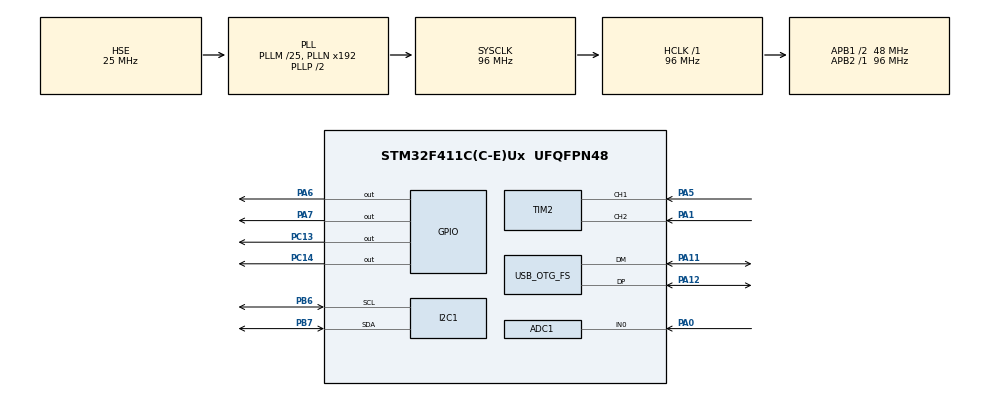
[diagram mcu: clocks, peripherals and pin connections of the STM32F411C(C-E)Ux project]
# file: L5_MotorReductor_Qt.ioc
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ADC1.Channel-0\#ChannelRegularConversion=ADC_CHANNEL_0
ADC1.NbrOfConversionFlag=1
ADC1.Rank-0\#ChannelRegularConversion=1
ADC1.SamplingTime-0\#ChannelRegularConversion=ADC_SAMPLETIME_3CYCLES
ADC1.master=1
I2C1.I2C_Mode=I2C_Fast
Mcu.Family=STM32F4
Mcu.Name=STM32F411C(C-E)Ux
Mcu.Package=UFQFPN48
Mcu.UserConstants=TIMX,TIM5
NVIC.OTG_FS_IRQn=true\:0\:0\:false\:false\:true\:true\:true\:true
NVIC.PriorityGroup=NVIC_PRIORITYGROUP_4
PA0-WKUP.Signal=ADCx_IN0
PA1.Signal=S_TIM2_CH2
PA11.Mode=Device_Only
PA11.Signal=USB_OTG_FS_DM
PA12.Mode=Device_Only
PA12.Signal=USB_OTG_FS_DP
PA13.Mode=Serial_Wire
PA13.Signal=SYS_JTMS-SWDIO
PA14.Mode=Serial_Wire
PA14.Signal=SYS_JTCK-SWCLK
PA5.Signal=S_TIM2_CH1_ETR
PA6.Signal=GPIO_Output
PA7.Signal=GPIO_Output
PB6.Mode=I2C
PB6.Signal=I2C1_SCL
PB7.Mode=I2C
PB7.Signal=I2C1_SDA
PC13-ANTI_TAMP.Signal=GPIO_Output
PC14-OSC32_IN.Signal=GPIO_Output
PH0\ -\ OSC_IN.Mode=HSE-External-Oscillator
PH0\ -\ OSC_IN.Signal=RCC_OSC_IN
PH1\ -\ OSC_OUT.Mode=HSE-External-Oscillator
PH1\ -\ OSC_OUT.Signal=RCC_OSC_OUT
ProjectManager.HeapSize=0x200
ProjectManager.StackSize=0x400
ProjectManager.TargetToolchain=STM32CubeIDE
RCC.48MHZClocksFreq_Value=48000000
RCC.AHBFreq_Value=96000000
RCC.APB1CLKDivider=RCC_HCLK_DIV2
RCC.APB1Freq_Value=48000000
RCC.APB1TimFreq_Value=96000000
RCC.APB2Freq_Value=96000000
RCC.APB2TimFreq_Value=96000000
RCC.CortexFreq_Value=96000000
RCC.HCLKFreq_Value=96000000
RCC.HSE_VALUE=25000000
RCC.HSI_VALUE=16000000
RCC.LSE_VALUE=32768
RCC.PLLM=25
RCC.SYSCLKFreq_VALUE=96000000
RCC.SYSCLKSource=RCC_SYSCLKSOURCE_PLLCLK
RCC.VCOOutputFreq_Value=192000000
SH.ADCx_IN0.0=ADC1_IN0,IN0
SH.S_TIM2_CH1_ETR.0=TIM2_CH1,Encoder_Interface
SH.S_TIM2_CH2.0=TIM2_CH2,Encoder_Interface
TIM2.EncoderMode=TIM_ENCODERMODE_TI12
TIM2.IC1Filter=15
TIM2.IC1Polarity=TIM_ICPOLARITY_FALLING
TIM2.IC2Filter=15
TIM2.IC2Polarity=TIM_ICPOLARITY_FALLING
TIM3.AutoReloadPreload=TIM_AUTORELOAD_PRELOAD_DISABLE
TIM3.Prescaler=96-1
TIM5.Prescaler=96-1
USB_DEVICE.CLASS_NAME_FS=CDC
USB_DEVICE.VirtualMode=Cdc
USB_DEVICE.VirtualModeFS=Cdc_FS
USB_OTG_FS.VirtualMode=Device_Only
VP_TIM3_VS_ClockSourceINT.Mode=Internal
VP_TIM5_VS_ClockSourceINT.Mode=Internal
VP_USB_DEVICE_VS_USB_DEVICE_CDC_FS.Mode=CDC_FS
board=custom

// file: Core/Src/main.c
/* USER CODE BEGIN Header */
/**
  ******************************************************************************
  * @file           : main.c
  * @brief          : Main program body
  ******************************************************************************
  * @attention
  *
  * Copyright (c) 2025 STMicroelectronics.
  * All rights reserved.
  *
  * This software is licensed under terms that can be found in the LICENSE file
  * in the root directory of this software component.
  * If no LICENSE file comes with this software, it is provided AS-IS.
  *
  ******************************************************************************
  */
/* USER CODE END Header */
#include "main.h"
#include "usb_device.h"

/* USER CODE BEGIN Includes */

#include "motorDriver.h"
#include "retardos.h"
#include <stdbool.h>

/* USER CODE END Includes */

ADC_HandleTypeDef hadc1;

I2C_HandleTypeDef hi2c1;

TIM_HandleTypeDef htim2;
TIM_HandleTypeDef htim3;
TIM_HandleTypeDef htim5;

/* USER CODE BEGIN PV */

uint32_t tiempo=0;
uint32_t start_time = 0;
uint32_t stop_time = 0;
uint32_t TIEMPO = 0;
uint32_t contador=0;

int8_t numDatos=0;
uint8_t RPM = 0;
uint8_t rpm = 0;

//unsigned long datosRX[];

volatile uint8_t datosRX[99];
volatile uint8_t indexRX = 0;
uint8_t datosTX[99];
uint8_t indexTX = 0;
//uint16_t overhead;
volatile int32_t posicionMotor =0;
uint8_t datosx [40];

volatile int i;
//volatile int bandera= 0;
volatile bool bandera= 0;
volatile uint8_t TiempoRPM = 0;

//uint32_t numDatos;

typedef struct{
	uint8_t inicio;
	uint8_t tamano;
	uint8_t *datos;  //changeable
	uint8_t crc;
	uint8_t fin;

}PAQUETE;

uint8_t datos4[] = {0xAA,0xFF,0xCC,0xDD,0xCC,0xFF,0xAA,0xFF,0xCC,0xDD,0xCC,0xFF}; //corregir despues max 6 para estudio qt

uint8_t hola[] = {0xEE,0x01};

PAQUETE pk1;

uint8_t calcularCRC(uint8_t *datos, uint8_t tam) //el valor de tam cuando llega
{
	uint8_t crc = 0;
	for(int i=0; i<tam; i++)
	{
		crc ^= datos[i];
	}
	return crc;
}

int8_t serializarPaquete(const PAQUETE* paquete, uint8_t *buffer){   //serialize

	int idx =0;

	if(!paquete || !buffer)return -1;

	buffer[idx++] = paquete->inicio;
	buffer[idx++]= paquete->tamano;

		if(paquete->datos && (paquete->tamano>3)){   	//packet of data ;
		  memcpy(&buffer[idx], paquete->datos, (size_t)(paquete->tamano-4));
		  idx = idx + paquete->tamano-4;
		}

	uint8_t ss= (uint8_t)idx;
	buffer[idx++] =calcularCRC(buffer,ss);
	buffer[idx++] =paquete->fin;
	return idx;
}

void EnviarPaquete(uint8_t *dat, uint8_t tam){ //DAT ES VARIABLE DINAMICA (*dat=RPM)

	pk1.inicio = 0x77; //Start byte
	pk1.tamano = tam + 4;
	pk1.datos=datosx;

    memcpy(&pk1.datos[0], dat, tam + 4 );

	numDatos = serializarPaquete(&pk1, &datosTX);
	pk1.crc=calcularCRC(datosTX, tam+4);
	pk1.fin =0x12;

	CDC_Transmit_FS(datosTX, numDatos);

} //way important to transmit

/*
int8_t deserializaPaquete(const PAQUETE* paquete, uint8_t *buffer){

	ind idx2 =0;
	buffer[idx2]=

}*/

/*
uint8_t ObtenerRPM()
{

	 static uint32_t pos_anterior = 0;
	    uint32_t pos_actual = pos;
	    // Calcula los pulsos transcurridos en 10 segundos
	    uint32_t pulsos_delta = pos_actual - pos_anterior;
	    pos_anterior = pos_actual; // Actualiza para la próxima lectura

	    // Calcula RPM: (pulsos / 1430 pulsos/rev) / 10 seg * 60 seg/min → (pulsos * 6) / 1430
	    uint32_t rpm = (pulsos_delta * 60) / (1430 * 10); // 10 segundos

	    // Asegura que el RPM no exceda 255 (máximo de uint8_t)
	    if (rpm > 255) rpm = 255;

	    return (uint8_t)rpm;

	    /*
    HAL_TIM_Base_Start(&htim3);
    __HAL_TIM_SET_COUNTER(&htim3, 0);

    Delay_ms(1000);

    uint32_t TiempoRPM = __HAL_TIM_GET_COUNTER(&htim3);
    uint8_t posimotor = posicionMotor;
       posimotor/=1430;  //constante de una vuelta en pulsos importante

    if (TiempoRPM >= 1000000)
    {

        __HAL_TIM_SET_COUNTER(&htim3, 0);
        float RPMS = (posimotor * 60.0) / TiempoRPM;
        return (uint8_t)RPMS;
        }
} */

uint8_t ObtenerRPM()
{
    static uint32_t pos_anterior = 0;
    uint32_t pos_actual = __HAL_TIM_GET_COUNTER(&htim2);
    uint32_t pulsos_delta = pos_actual - pos_anterior;
    pos_anterior = pos_actual;

   uint32_t rpm = (pulsos_delta * 60) / 1430*10;

    if (rpm > 255) rpm = 255;

    return (uint8_t)rpm;
}

/* USER CODE END PV */

void SystemClock_Config(void);
static void MX_GPIO_Init(void);
static void MX_I2C1_Init(void);
static void MX_TIM2_Init(void);
static void MX_ADC1_Init(void);
static void MX_TIM3_Init(void);
static void MX_TIM5_Init(void);

/* USER CODE BEGIN 0 */

void CDC_ReceiveCallBack(uint8_t* Buf, uint32_t len){

	memcpy(datosRX,Buf,len);
	indexRX = len;
}

/* USER CODE END 0 */

int main(void)
{

  /* MCU Configuration--------------------------------------------------------*/

  /* Reset of all peripherals, Initializes the Flash interface and the Systick. */
  HAL_Init();

  /* Configure the system clock */
  SystemClock_Config();

  /* Initialize all configured peripherals */
  MX_GPIO_Init();
  MX_I2C1_Init();
  MX_TIM2_Init();
  MX_USB_DEVICE_Init();
  MX_ADC1_Init();
  MX_TIM3_Init();
  MX_TIM5_Init();
  /* USER CODE BEGIN 2 */
  //ssd1306_Init();
  motoresInit(&htim2, TIM_CHANNEL_1, TIM_CHANNEL_2);
  HAL_TIM_Base_Start(&htim3);

  delay_us_tim_init();

  /* USER CODE END 2 */

  /* Infinite loop */
  /* USER CODE BEGIN WHILE */

HAL_TIM_Encoder_Start(&htim2, TIM_CHANNEL_ALL);  //importante por encoder mode t1, t2.

  while (1)
  {

  	//CDC_Transmit_FS(&contador,1);

/*    HAL_Delay(1);
	//  contador++;

	  if (__HAL_TIM_GET_COUNTER(&htim3)>1000000)
	  {
		  posicionMotor = __HAL_TIM_GET_COUNTER(&htim2);
		  RPM = ObtenerRPM(posicionMotor);
		  //RPM SE ENVIA A QT
		  //EnviarPaquete(RPM, 1);
		  __HAL_TIM_SET_COUNTER(&htim3,0);
	  }*/

/*
	   if(indexRX !=0){
			  HAL_GPIO_TogglePin(GPIOC, GPIO_PIN_13);
	   }   */

	     posicionMotor = __HAL_TIM_GET_COUNTER(&htim2);

	    // ObtenerRPM(posicionMotor);

		   if(!bandera){
		   	       HAL_GPIO_WritePin(GPIOA, GPIO_PIN_6, 1);
		   	       HAL_GPIO_WritePin(GPIOA, GPIO_PIN_7, 0);
		   	       EnviarPaquete(datos4, 12);
		   	      bandera= 1;
		   }
		    // HAL_Delay(1);
		     Delay_ms(1);

	   if(tiempo++ == 10000){
		   tiempo=0;

			  RPM = ObtenerRPM();

   	       HAL_GPIO_WritePin(GPIOA, GPIO_PIN_6, 0);
   	       HAL_GPIO_WritePin(GPIOA, GPIO_PIN_7, 0);
		     Delay_ms(2);
  	       HAL_GPIO_WritePin(GPIOA, GPIO_PIN_6, 1);
   	       HAL_GPIO_WritePin(GPIOA, GPIO_PIN_7, 1);
   	          Delay_ms(500);
  	       HAL_GPIO_WritePin(GPIOA, GPIO_PIN_6, 0);
   	       HAL_GPIO_WritePin(GPIOA, GPIO_PIN_7, 0);

		   /*
            char texto[64];
            sprintf (texto, "&d\n", posicionMotor);
            CDC_Transmit_FS(texto, strlen(texto));
           */
		   /*
		   datosTX[0]=0xF0;
	       datosTX[1]= 0X08;
		   datosTX[2]=((contador >> 24)&0xFF);
		   datosTX[3]=((contador >> 16)&0xFF);
		   datosTX[4]=((contador >> 8)&0xFF);
		   datosTX[5]=((contador >> 0)&0xFF);
		   datosTX[6]= 0x23;
		   datosTX[7]= 0x03;
           CDC_Transmit_FS(datosTX, 8);*/

			 // EnviarPaquete(hola, 2);
			   EnviarPaquete(hola, 2);
	      }

  /*	sprintf(texto1, "el contador va en %lu \n",contador);
  	CDC_Transmit_FS(texto1, strlen(texto1));
  	contador++;
	HAL_Delay(200); */

	  // ssd1306

    /* USER CODE END WHILE */

  }
}

void SystemClock_Config(void)
{
  RCC_OscInitTypeDef RCC_OscInitStruct = {0};
  RCC_ClkInitTypeDef RCC_ClkInitStruct = {0};

  /** Configure the main internal regulator output voltage
  */
  __HAL_RCC_PWR_CLK_ENABLE();
  __HAL_PWR_VOLTAGESCALING_CONFIG(PWR_REGULATOR_VOLTAGE_SCALE1);

  /** Initializes the RCC Oscillators according to the specified parameters
  * in the RCC_OscInitTypeDef structure.
  */
  RCC_OscInitStruct.OscillatorType = RCC_OSCILLATORTYPE_HSE;
  RCC_OscInitStruct.HSEState = RCC_HSE_ON;
  RCC_OscInitStruct.PLL.PLLState = RCC_PLL_ON;
  RCC_OscInitStruct.PLL.PLLSource = RCC_PLLSOURCE_HSE;
  RCC_OscInitStruct.PLL.PLLM = 25;
  RCC_OscInitStruct.PLL.PLLN = 192;
  RCC_OscInitStruct.PLL.PLLP = RCC_PLLP_DIV2;
  RCC_OscInitStruct.PLL.PLLQ = 4;
  if (HAL_RCC_OscConfig(&RCC_OscInitStruct) != HAL_OK)
  {
    Error_Handler();
  }

  /** Initializes the CPU, AHB and APB buses clocks
  */
  RCC_ClkInitStruct.ClockType = RCC_CLOCKTYPE_HCLK|RCC_CLOCKTYPE_SYSCLK
                              |RCC_CLOCKTYPE_PCLK1|RCC_CLOCKTYPE_PCLK2;
  RCC_ClkInitStruct.SYSCLKSource = RCC_SYSCLKSOURCE_PLLCLK;
  RCC_ClkInitStruct.AHBCLKDivider = RCC_SYSCLK_DIV1;
  RCC_ClkInitStruct.APB1CLKDivider = RCC_HCLK_DIV2;
  RCC_ClkInitStruct.APB2CLKDivider = RCC_HCLK_DIV1;

  if (HAL_RCC_ClockConfig(&RCC_ClkInitStruct, FLASH_LATENCY_3) != HAL_OK)
  {
    Error_Handler();
  }
}

static void MX_ADC1_Init(void)
{

  ADC_ChannelConfTypeDef sConfig = {0};

  /** Configure the global features of the ADC (Clock, Resolution, Data Alignment and number of conversion)
  */
  hadc1.Instance = ADC1;
  hadc1.Init.ClockPrescaler = ADC_CLOCK_SYNC_PCLK_DIV4;
  hadc1.Init.Resolution = ADC_RESOLUTION_12B;
  hadc1.Init.ScanConvMode = DISABLE;
  hadc1.Init.ContinuousConvMode = DISABLE;
  hadc1.Init.DiscontinuousConvMode = DISABLE;
  hadc1.Init.ExternalTrigConvEdge = ADC_EXTERNALTRIGCONVEDGE_NONE;
  hadc1.Init.ExternalTrigConv = ADC_SOFTWARE_START;
  hadc1.Init.DataAlign = ADC_DATAALIGN_RIGHT;
  hadc1.Init.NbrOfConversion = 1;
  hadc1.Init.DMAContinuousRequests = DISABLE;
  hadc1.Init.EOCSelection = ADC_EOC_SINGLE_CONV;
  if (HAL_ADC_Init(&hadc1) != HAL_OK)
  {
    Error_Handler();
  }

  /** Configure for the selected ADC regular channel its corresponding rank in the sequencer and its sample time.
  */
  sConfig.Channel = ADC_CHANNEL_0;
  sConfig.Rank = 1;
  sConfig.SamplingTime = ADC_SAMPLETIME_3CYCLES;
  if (HAL_ADC_ConfigChannel(&hadc1, &sConfig) != HAL_OK)
  {
    Error_Handler();
  }

}

static void MX_I2C1_Init(void)
{

  hi2c1.Instance = I2C1;
  hi2c1.Init.ClockSpeed = 400000;
  hi2c1.Init.DutyCycle = I2C_DUTYCYCLE_2;
  hi2c1.Init.OwnAddress1 = 0;
  hi2c1.Init.AddressingMode = I2C_ADDRESSINGMODE_7BIT;
  hi2c1.Init.DualAddressMode = I2C_DUALADDRESS_DISABLE;
  hi2c1.Init.OwnAddress2 = 0;
  hi2c1.Init.GeneralCallMode = I2C_GENERALCALL_DISABLE;
  hi2c1.Init.NoStretchMode = I2C_NOSTRETCH_DISABLE;
  if (HAL_I2C_Init(&hi2c1) != HAL_OK)
  {
    Error_Handler();
  }

}

static void MX_TIM2_Init(void)
{

  TIM_Encoder_InitTypeDef sConfig = {0};
  TIM_MasterConfigTypeDef sMasterConfig = {0};

  htim2.Instance = TIM2;
  htim2.Init.Prescaler = 0;
  htim2.Init.CounterMode = TIM_COUNTERMODE_UP;
  htim2.Init.Period = 4294967295;
  htim2.Init.ClockDivision = TIM_CLOCKDIVISION_DIV1;
  htim2.Init.AutoReloadPreload = TIM_AUTORELOAD_PRELOAD_DISABLE;
  sConfig.EncoderMode = TIM_ENCODERMODE_TI12;
  sConfig.IC1Polarity = TIM_ICPOLARITY_FALLING;
  sConfig.IC1Selection = TIM_ICSELECTION_DIRECTTI;
  sConfig.IC1Prescaler = TIM_ICPSC_DIV1;
  sConfig.IC1Filter = 15;
  sConfig.IC2Polarity = TIM_ICPOLARITY_FALLING;
  sConfig.IC2Selection = TIM_ICSELECTION_DIRECTTI;
  sConfig.IC2Prescaler = TIM_ICPSC_DIV1;
  sConfig.IC2Filter = 15;
  if (HAL_TIM_Encoder_Init(&htim2, &sConfig) != HAL_OK)
  {
    Error_Handler();
  }
  sMasterConfig.MasterOutputTrigger = TIM_TRGO_RESET;
  sMasterConfig.MasterSlaveMode = TIM_MASTERSLAVEMODE_DISABLE;
  if (HAL_TIMEx_MasterConfigSynchronization(&htim2, &sMasterConfig) != HAL_OK)
  {
    Error_Handler();
  }

}

static void MX_TIM3_Init(void)
{

  TIM_ClockConfigTypeDef sClockSourceConfig = {0};
  TIM_MasterConfigTypeDef sMasterConfig = {0};

  htim3.Instance = TIM3;
  htim3.Init.Prescaler = 96-1;
  htim3.Init.CounterMode = TIM_COUNTERMODE_UP;
  htim3.Init.Period = 65535;
  htim3.Init.ClockDivision = TIM_CLOCKDIVISION_DIV1;
  htim3.Init.AutoReloadPreload = TIM_AUTORELOAD_PRELOAD_DISABLE;
  if (HAL_TIM_Base_Init(&htim3) != HAL_OK)
  {
    Error_Handler();
  }
  sClockSourceConfig.ClockSource = TIM_CLOCKSOURCE_INTERNAL;
  if (HAL_TIM_ConfigClockSource(&htim3, &sClockSourceConfig) != HAL_OK)
  {
    Error_Handler();
  }
  sMasterConfig.MasterOutputTrigger = TIM_TRGO_RESET;
  sMasterConfig.MasterSlaveMode = TIM_MASTERSLAVEMODE_DISABLE;
  if (HAL_TIMEx_MasterConfigSynchronization(&htim3, &sMasterConfig) != HAL_OK)
  {
    Error_Handler();
  }

}

static void MX_TIM5_Init(void)
{

  TIM_ClockConfigTypeDef sClockSourceConfig = {0};
  TIM_MasterConfigTypeDef sMasterConfig = {0};

  htim5.Instance = TIM5;
  htim5.Init.Prescaler = 96-1;
  htim5.Init.CounterMode = TIM_COUNTERMODE_UP;
  htim5.Init.Period = 4294967295;
  htim5.Init.ClockDivision = TIM_CLOCKDIVISION_DIV1;
  htim5.Init.AutoReloadPreload = TIM_AUTORELOAD_PRELOAD_DISABLE;
  if (HAL_TIM_Base_Init(&htim5) != HAL_OK)
  {
    Error_Handler();
  }
  sClockSourceConfig.ClockSource = TIM_CLOCKSOURCE_INTERNAL;
  if (HAL_TIM_ConfigClockSource(&htim5, &sClockSourceConfig) != HAL_OK)
  {
    Error_Handler();
  }
  sMasterConfig.MasterOutputTrigger = TIM_TRGO_RESET;
  sMasterConfig.MasterSlaveMode = TIM_MASTERSLAVEMODE_DISABLE;
  if (HAL_TIMEx_MasterConfigSynchronization(&htim5, &sMasterConfig) != HAL_OK)
  {
    Error_Handler();
  }

}

static void MX_GPIO_Init(void)
{
  GPIO_InitTypeDef GPIO_InitStruct = {0};

  /* GPIO Ports Clock Enable */
  __HAL_RCC_GPIOC_CLK_ENABLE();
  __HAL_RCC_GPIOH_CLK_ENABLE();
  __HAL_RCC_GPIOA_CLK_ENABLE();
  __HAL_RCC_GPIOB_CLK_ENABLE();

  /*Configure GPIO pin Output Level */
  HAL_GPIO_WritePin(GPIOC, GPIO_PIN_13|GPIO_PIN_14, GPIO_PIN_RESET);

  /*Configure GPIO pin Output Level */
  HAL_GPIO_WritePin(GPIOA, GPIO_PIN_6|GPIO_PIN_7, GPIO_PIN_RESET);

  /*Configure GPIO pins : PC13 PC14 */
  GPIO_InitStruct.Pin = GPIO_PIN_13|GPIO_PIN_14;
  GPIO_InitStruct.Mode = GPIO_MODE_OUTPUT_PP;
  GPIO_InitStruct.Pull = GPIO_NOPULL;
  GPIO_InitStruct.Speed = GPIO_SPEED_FREQ_LOW;
  HAL_GPIO_Init(GPIOC, &GPIO_InitStruct);

  /*Configure GPIO pins : PA6 PA7 */
  GPIO_InitStruct.Pin = GPIO_PIN_6|GPIO_PIN_7;
  GPIO_InitStruct.Mode = GPIO_MODE_OUTPUT_PP;
  GPIO_InitStruct.Pull = GPIO_NOPULL;
  GPIO_InitStruct.Speed = GPIO_SPEED_FREQ_LOW;
  HAL_GPIO_Init(GPIOA, &GPIO_InitStruct);

}

/* USER CODE BEGIN 4 */

void HAL_TIM_PeriodElapsedCallback(TIM_HandleTypeDef *htim)
{
  //milisegundos++;
}

/*
void CDC_ReceiveCallBack(uint8_t* Buf, uint32_t Len){
	mempcy(datosRX,Buf,Len);
	indexRX = Len;
}*/

/* USER CODE END 4 */

void Error_Handler(void)
{
  __disable_irq();
  while (1)
  {
  }
}
